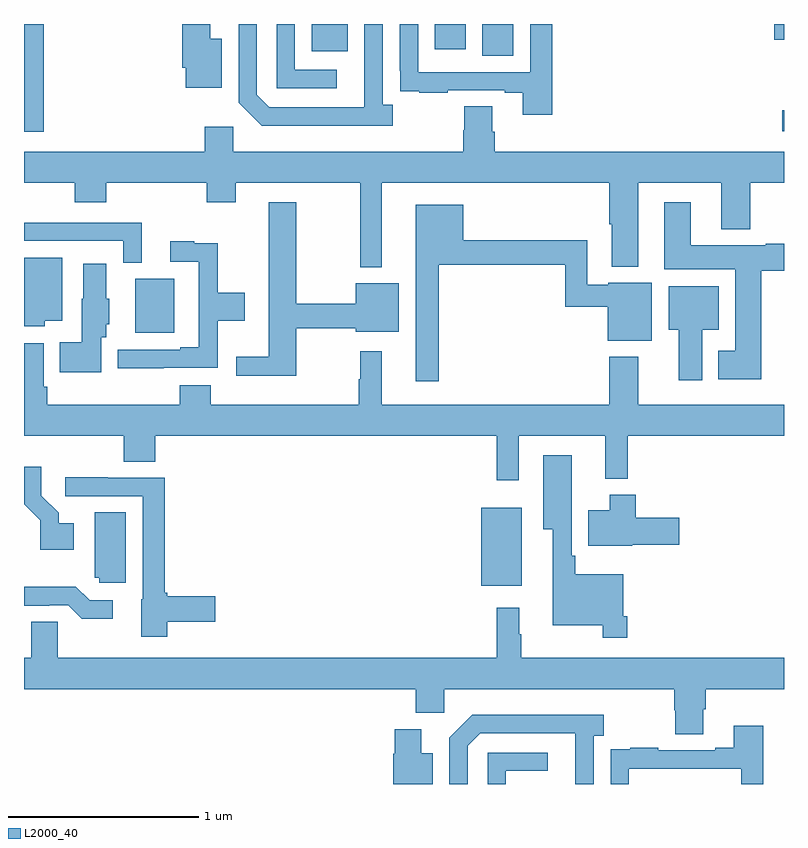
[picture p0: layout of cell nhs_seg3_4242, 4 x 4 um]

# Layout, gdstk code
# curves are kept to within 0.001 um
import gdstk
lib = gdstk.Library(unit=1e-6, precision=1e-09)
def R(c, l, rs):  # rectangles x0, y0, x1, y1
    for r in rs: c.add(gdstk.rectangle(r[:2], r[2:], *l))
def P(c, l, *ps):  # polygons
    for p in ps: c.add(gdstk.Polygon(p, *l))
L2000_40 = (2000, 40)

nhs_seg3_4242 = lib.new_cell('nhs_seg3_4242')
R(nhs_seg3_4242, L2000_40, [(337.406,717.443,337.621,717.853), (335.585,718.775,335.791,719.059), (335,719.832,335.105,720.4), (338.992,719.835,339,719.947), (337.412,720.232,337.576,720.4), (336.515,720.257,336.703,720.4), (337.163,720.267,337.324,720.4), (338.948,720.317,339,720.4)])
P(nhs_seg3_4242, L2000_40, [(336.04,720.322),(335.98,720.322),(335.98,720.4),(335.833,720.4),(335.833,720.169),(335.852,720.169),(335.852,720.065),(336.04,720.065)],
  [(337.781,720.4),(337.665,720.4),(337.665,720.147),(337.074,720.147),(337.074,720.4),(336.978,720.4),(336.978,720.154),(336.979,720.154),(336.979,720.045),(337.081,720.045),(337.081,720.039),(337.229,720.039),(337.229,720.051),(337.529,720.051),(337.529,720.039),(337.625,720.039),(337.625,719.922),(337.781,719.922)],
  [(336.94,719.974),(336.888,719.974),(336.888,720.4),(336.792,720.4),(336.791,719.961),(336.291,719.961),(336.225,720.027),(336.225,720.4),(336.129,720.4),(336.129,719.985),(336.25,719.864),(336.94,719.864)],
  [(336.646,720.159),(336.426,720.159),(336.426,720.4),(336.33,720.4),(336.33,720.063),(336.646,720.063)],
  [(335,719.564),(335.267,719.564),(335.267,719.462),(335.432,719.462),(335.432,719.564),(335.963,719.564),(335.963,719.462),(336.115,719.462),(336.115,719.564),(336.769,719.564),(336.769,719.12),(336.883,719.12),(336.883,719.564),(338.081,719.564),(338.081,719.347),(338.093,719.347),(338.093,719.123),(338.233,719.123),(338.233,719.564),(338.669,719.564),(338.669,719.321),(338.822,719.321),(338.822,719.564),(339,719.564),(339,719.728),(337.478,719.728),(337.478,719.834),(337.465,719.834),(337.465,719.966),(337.318,719.966),(337.318,719.841),(337.313,719.841),(337.313,719.728),(336.102,719.728),(336.102,719.86),(335.951,719.86),(335.951,719.728),(335,719.728)],
  [(338.879,719.102),(339,719.102),(339,719.244),(338.905,719.244),(338.905,719.236),(338.509,719.236),(338.509,719.461),(338.369,719.461),(338.369,719.108),(338.744,719.108),(338.744,718.681),(338.654,718.681),(338.654,718.529),(338.879,718.529)],
  [(336.432,718.8),(336.746,718.8),(336.746,718.781),(336.973,718.781),(336.973,719.035),(336.746,719.035),(336.746,718.928),(336.432,718.928),(336.432,719.461),(336.287,719.461),(336.287,718.649),(336.117,718.649),(336.117,718.55),(336.432,718.55)],
  [(337.183,719.134),(337.849,719.134),(337.849,718.912),(338.072,718.912),(338.072,718.733),(338.305,718.733),(338.305,719.038),(338.076,719.038),(338.076,719.028),(337.965,719.028),(337.965,719.263),(337.312,719.263),(337.312,719.449),(337.061,719.449),(337.061,718.521),(337.183,718.521)],
  [(335.62,719.355),(335,719.355),(335,719.259),(335.523,719.259),(335.523,719.144),(335.62,719.144)],
  [(335.735,718.59),(336.02,718.59),(336.02,718.838),(336.163,718.838),(336.163,718.986),(336.02,718.986),(336.02,719.246),(335.897,719.246),(335.897,719.257),(335.769,719.257),(335.769,719.148),(335.919,719.148),(335.919,718.699),(335.822,718.699),(335.822,718.686),(335.493,718.686),(335.493,718.589),(335.735,718.589)],
  [(335.11,718.838),(335.2,718.838),(335.2,719.17),(335,719.17),(335,718.808),(335.11,718.808)],
  [(335.407,718.752),(335.434,718.752),(335.434,718.821),(335.449,718.821),(335.449,718.953),(335.434,718.953),(335.434,719.137),(335.312,719.137),(335.312,718.953),(335.303,718.953),(335.303,718.726),(335.188,718.726),(335.188,718.568),(335.407,718.568)],
  [(338.569,718.79),(338.656,718.79),(338.656,719.02),(338.393,719.02),(338.393,718.79),(338.447,718.79),(338.447,718.524),(338.569,718.524)],
  [(337.605,718.232),(338.06,718.232),(338.06,718.007),(338.177,718.007),(338.177,718.232),(339,718.232),(339,718.396),(338.233,718.396),(338.233,718.648),(338.081,718.648),(338.081,718.396),(336.883,718.396),(336.883,718.678),(336.769,718.678),(336.769,718.529),(336.762,718.529),(336.762,718.396),(335.984,718.396),(335.984,718.498),(335.819,718.498),(335.819,718.396),(335.123,718.396),(335.123,718.492),(335.103,718.492),(335.103,718.72),(335,718.72),(335,718.232),(335.525,718.232),(335.525,718.096),(335.69,718.096),(335.69,718.232),(337.489,718.232),(337.489,717.999),(337.605,717.999)],
  [(338.174,717.283),(338.154,717.283),(338.154,717.505),(337.901,717.505),(337.901,717.601),(337.882,717.601),(337.882,718.129),(337.733,718.129),(337.733,717.74),(337.784,717.74),(337.784,717.236),(338.046,717.236),(338.046,717.171),(338.174,717.171)],
  [(335.263,717.772),(335.182,717.772),(335.182,717.827),(335.092,717.917),(335.092,718.069),(335,718.069),(335,717.872),(335.085,717.787),(335.085,717.632),(335.263,717.632)],
  [(335.754,717.254),(336.007,717.254),(336.007,717.389),(335.754,717.389),(335.754,717.407),(335.741,717.407),(335.741,718.011),(335.441,718.011),(335.441,718.014),(335.217,718.014),(335.217,717.915),(335.625,717.915),(335.625,717.372),(335.618,717.372),(335.618,717.176),(335.754,717.176)],
  [(338.202,717.659),(338.449,717.659),(338.449,717.801),(338.219,717.801),(338.219,717.922),(338.084,717.922),(338.084,717.841),(337.97,717.841),(337.97,717.653),(338.202,717.653)],
  [(335.536,717.83),(335.372,717.83),(335.372,717.486),(335.397,717.486),(335.397,717.459),(335.536,717.459)],
  [(335.467,717.366),(335.346,717.366),(335.273,717.439),(335,717.439),(335,717.339),(335.132,717.339),(335.132,717.342),(335.232,717.342),(335.305,717.269),(335.467,717.269)],
  [(338.575,716.794),(338.588,716.794),(338.588,716.9),(339,716.9),(339,717.064),(337.618,717.064),(337.618,717.188),(337.606,717.188),(337.606,717.328),(337.489,717.328),(337.489,717.064),(335.178,717.064),(335.178,717.254),(335.039,717.254),(335.039,717.064),(335,717.064),(335,716.9),(337.061,716.9),(337.061,716.774),(337.212,716.774),(337.212,716.9),(338.423,716.9),(338.423,716.787),(338.428,716.787),(338.428,716.662),(338.575,716.662)],
  [(337.335,716.601),(337.401,716.667),(337.901,716.667),(337.902,716.4),(337.998,716.4),(337.998,716.654),(338.05,716.654),(338.05,716.764),(337.36,716.764),(337.239,716.643),(337.239,716.4),(337.335,716.4)],
  [(338.184,716.481),(338.775,716.481),(338.775,716.4),(338.891,716.4),(338.891,716.707),(338.735,716.707),(338.735,716.59),(338.639,716.59),(338.639,716.577),(338.339,716.577),(338.339,716.59),(338.191,716.59),(338.191,716.583),(338.089,716.583),(338.089,716.474),(338.088,716.474),(338.088,716.4),(338.184,716.4)],
  [(337.15,716.563),(337.09,716.563),(337.09,716.689),(336.95,716.689),(336.95,716.559),(336.943,716.559),(336.943,716.4),(337.15,716.4)],
  [(337.536,716.469),(337.756,716.469),(337.756,716.565),(337.44,716.565),(337.44,716.4),(337.536,716.4)])

lib.write_gds('nhs_seg3_4242.gds')
